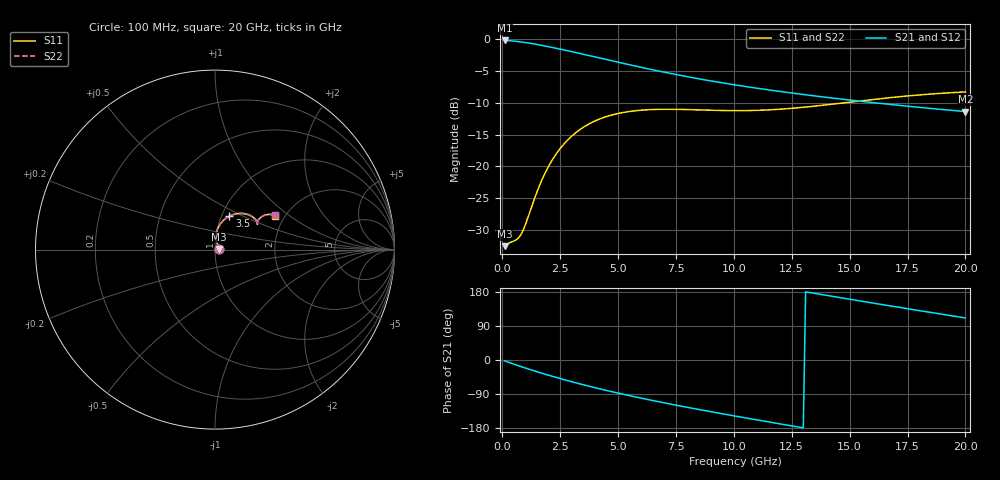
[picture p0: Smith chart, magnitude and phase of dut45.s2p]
! Touchstone file exported from HFSS 2024.1.0
!  File:  C:/UserFiles/LocalFiles/RDL_TSV_Batchsim/temp_RDL_TSV_45_1779405489.aedt
!  Generated:  07:36:18 AM May 22, 2026
!  Design:  RDL_TSV
!  Project:  temp_RDL_TSV_45_1779405489
!  Setup:  Setup1
!  Solution:  Sweep
! Variables:
!  dtsv = 11.87um
!  hbump = 3um
!  htsv = 61.05um
!  ldown = 382.76um
!  lrdl = 662.05um
!  p = 40
!  p1 = 57.04um
!  rhole = 10um
!  subl = 3796.48um
!  t = 450um
!  tdown = 3.66um
!  trdl = 2.06um
!  viad = 10um
!  wdown = 28.52um
!  wrdl = 23.63um
!  xbump = 18um
# GHz S MA R 50.000000
! Terminal data exported
! Port[1] = TM1_1_T1
! Port[2] = TM1_4_T1
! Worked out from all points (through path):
!   200 points, 100 MHz to 20 GHz, reference 50 ohm
!   highest |S21| = -0.21 dB at 100 MHz (marker M1); lowest = -11.4 dB at 20 GHz (marker M2)
!   group delay of S21, straight-line fit = 32.7 ps
!   lowest |S11| = -32.5 dB at 100 MHz (marker M3), VSWR 1.05, Z = 52.4 + j0.335 ohm
!   |S11| at or under -10 dB: start of sweep to 14.78 GHz
!   |S22| runs from -32.5 to -8.3 dB; largest |S21 - S12| = 8.3e-15
!   S11 on the Smith chart (normalised r, x): 100 MHz: 1.05, +0.01; 3.5 GHz: 1.09, +0.42; 20 GHz: 1.78, +0.79
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0.1  0.02358 7.8  0.9761 -2.2  0.9761 -2.2  0.02358 7.8
! Gamma 0 0 0 0
! Port Impedance 50 0 50 0
0.6  0.02641 39.0  0.9606 -13.1  0.9606 -13.1  0.0264 39.1
0.8  0.02894 54.5  0.951 -17.2  0.951 -17.2  0.02894 54.6
1  0.03485 68.6  0.9399 -21.3  0.9399 -21.3  0.03489 68.8
1.4  0.05632 83.4  0.9145 -29.1  0.9145 -29.1  0.05646 83.5
1.7  0.07739 85.8  0.8935 -34.8  0.8935 -34.8  0.07761 85.9
2.1  0.1078 83.9  0.8643 -42.1  0.8643 -42.1  0.1081 83.9
2.5  0.1381 79.6  0.8345 -49.0  0.8345 -49.0  0.1385 79.6
3  0.1729 73.1  0.7972 -57.4  0.7972 -57.4  0.1734 73.2
3.5  0.2028 66.6  0.7606 -65.4  0.7606 -65.4  0.2034 66.7
4.2  0.2354 58.2  0.7113 -76.0  0.7113 -76.0  0.2362 58.2
5.1  0.2625 49.0  0.6525 -88.8  0.6525 -88.8  0.2634 49.0
5.9  0.2753 42.5  0.6055 -99.4  0.6055 -99.4  0.2762 42.5
6.8  0.2806 37.1  0.5588 -110.7  0.5588 -110.7  0.2816 37.1
8.4  0.2781 31.8  0.4907 -129.6  0.4907 -129.6  0.279 31.8
10.1  0.274 31.0  0.4353 -148.4  0.4353 -148.4  0.2749 31.0
11.7  0.279 32.7  0.3945 -165.5  0.3945 -165.5  0.2798 32.7
13.4  0.2962 34.6  0.3594 176.8  0.3594 176.8  0.297 34.6
15.1  0.3212 35.1  0.3304 159.4  0.3304 159.4  0.322 35.2
16.7  0.346 34.1  0.3072 143.3  0.3072 143.3  0.347 34.2
18.3  0.3677 32.1  0.2874 127.5  0.2874 127.5  0.3688 32.2
20  0.3847 29.4  0.2696 110.9  0.2696 110.9  0.3859 29.5
